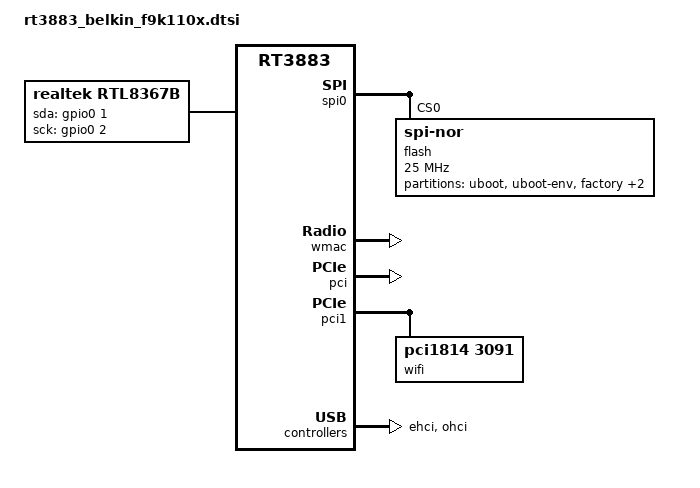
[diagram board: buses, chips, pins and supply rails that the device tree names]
// SPDX-License-Identifier: GPL-2.0-or-later OR MIT

#include "rt3883.dtsi"

#include <dt-bindings/gpio/gpio.h>
#include <dt-bindings/input/input.h>

/ {
	compatible = "ralink,rt3883-soc";

	rtl8367b {
		compatible = "realtek,rtl8367b";
		gpio-sda = <&gpio0 1 GPIO_ACTIVE_HIGH>;
		gpio-sck = <&gpio0 2 GPIO_ACTIVE_HIGH>;
		realtek,extif1 = <1 0 1 1 1 1 1 1 2>;
	};
};

&spi0 {
	status = "okay";

	flash@0 {
		compatible = "jedec,spi-nor";
		reg = <0>;
		spi-max-frequency = <25000000>;

		partitions {
			compatible = "fixed-partitions";
			#address-cells = <1>;
			#size-cells = <1>;

			partition@0 {
				label = "uboot";
				reg = <0x0 0x30000>;
				read-only;
			};

			partition@30000 {
				label = "uboot-env";
				reg = <0x30000 0x10000>;
				read-only;
			};

			factory: partition@40000 {
				compatible = "nvmem-cells";
				label = "factory";
				reg = <0x40000 0x10000>;
				#address-cells = <1>;
				#size-cells = <1>;
				read-only;

				eeprom_factory_0: eeprom@0 {
					reg = <0x0 0x200>;
				};

				eeprom_factory_8000: eeprom@8000 {
					reg = <0x8000 0x200>;
				};
			};

			partition@50000 {
				compatible = "denx,uimage";
				label = "firmware";
				reg = <0x50000 0x7a0000>;
			};

			partition@7f0000 {
				label = "user-cfg";
				reg = <0x7f0000 0x10000>;
				read-only;
			};
		};
	};
};

&ethernet {
	port@0 {
		mediatek,fixed-link = <1000 1 1 1>;
		phy-mode = "rgmii";
	};
};

&state_default {
	gpio {
		groups = "i2c", "jtag", "uartf";
		function = "gpio";
	};
};

&wmac {
	nvmem-cells = <&eeprom_factory_0>;
	nvmem-cell-names = "eeprom";
};

&pci {
	status = "okay";
};

&pci1 {
	status = "okay";

	wifi@1,0 {
		compatible = "pci1814,3091";
		reg = <0x10000 0 0 0 0>;
		ralink,5ghz = <0>;
		nvmem-cells = <&eeprom_factory_8000>;
		nvmem-cell-names = "eeprom";
	};
};

&ehci {
	status = "okay";
};

&ohci {
	status = "okay";
};
